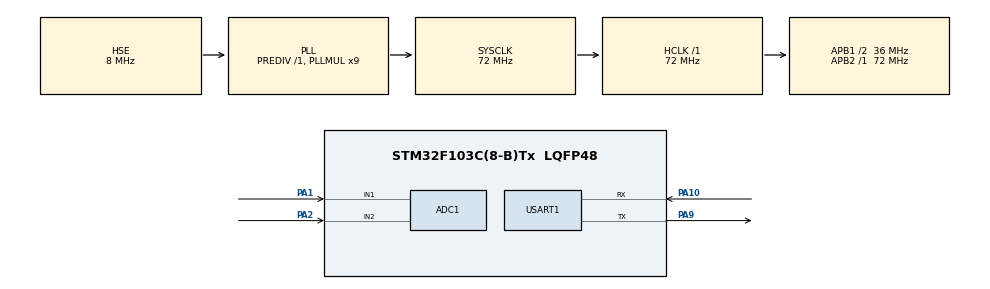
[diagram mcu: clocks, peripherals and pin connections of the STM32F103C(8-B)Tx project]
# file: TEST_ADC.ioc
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ADC1.Channel-0\#ChannelRegularConversion=ADC_CHANNEL_1
ADC1.Channel-1\#ChannelRegularConversion=ADC_CHANNEL_2
ADC1.Channel-2\#ChannelRegularConversion=ADC_CHANNEL_TEMPSENSOR
ADC1.NbrOfConversion=3
ADC1.NbrOfConversionFlag=1
ADC1.Rank-0\#ChannelRegularConversion=1
ADC1.Rank-1\#ChannelRegularConversion=2
ADC1.Rank-2\#ChannelRegularConversion=3
ADC1.SamplingTime-0\#ChannelRegularConversion=ADC_SAMPLETIME_13CYCLES_5
ADC1.SamplingTime-1\#ChannelRegularConversion=ADC_SAMPLETIME_28CYCLES_5
ADC1.SamplingTime-2\#ChannelRegularConversion=ADC_SAMPLETIME_239CYCLES_5
ADC1.master=1
Mcu.Family=STM32F1
Mcu.Name=STM32F103C(8-B)Tx
Mcu.Package=LQFP48
NVIC.PriorityGroup=NVIC_PRIORITYGROUP_4
PA1.Signal=ADCx_IN1
PA10.Mode=Asynchronous
PA10.Signal=USART1_RX
PA13.Mode=Serial_Wire
PA13.Signal=SYS_JTMS-SWDIO
PA14.Mode=Serial_Wire
PA14.Signal=SYS_JTCK-SWCLK
PA2.Signal=ADCx_IN2
PA9.Mode=Asynchronous
PA9.Signal=USART1_TX
PD0-OSC_IN.Mode=HSE-External-Oscillator
PD0-OSC_IN.Signal=RCC_OSC_IN
PD1-OSC_OUT.Mode=HSE-External-Oscillator
PD1-OSC_OUT.Signal=RCC_OSC_OUT
ProjectManager.HeapSize=0x200
ProjectManager.StackSize=0x400
ProjectManager.TargetToolchain=MDK-ARM V5.32
RCC.ADCPresc=RCC_ADCPCLK2_DIV6
RCC.AHBFreq_Value=72000000
RCC.APB1CLKDivider=RCC_HCLK_DIV2
RCC.APB1Freq_Value=36000000
RCC.APB1TimFreq_Value=72000000
RCC.APB2Freq_Value=72000000
RCC.APB2TimFreq_Value=72000000
RCC.HCLKFreq_Value=72000000
RCC.PLLMUL=RCC_PLL_MUL9
RCC.PLLSourceVirtual=RCC_PLLSOURCE_HSE
RCC.SYSCLKFreq_VALUE=72000000
RCC.SYSCLKSource=RCC_SYSCLKSOURCE_PLLCLK
RCC.USBFreq_Value=72000000
SH.ADCx_IN1.0=ADC1_IN1,IN1
SH.ADCx_IN2.0=ADC1_IN2,IN2
USART1.VirtualMode=VM_ASYNC
VP_ADC1_TempSens_Input.Mode=IN-TempSens
board=custom

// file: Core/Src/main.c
/* USER CODE BEGIN Header */
/**
  ******************************************************************************
  * @file           : main.c
  * @brief          : Main program body
  ******************************************************************************
  * @attention
  *
  * Copyright (c) 2022 STMicroelectronics.
  * All rights reserved.
  *
  * This software is licensed under terms that can be found in the LICENSE file
  * in the root directory of this software component.
  * If no LICENSE file comes with this software, it is provided AS-IS.
  *
  ******************************************************************************
  */
/* USER CODE END Header */
#include "main.h"

/* USER CODE BEGIN Includes */
#include <stdio.h>
/* USER CODE END Includes */

 ADC_HandleTypeDef hadc1;

UART_HandleTypeDef huart1;

void SystemClock_Config(void);
static void MX_GPIO_Init(void);
static void MX_ADC1_Init(void);
static void MX_USART1_UART_Init(void);

/* USER CODE BEGIN 0 */
uint32_t adc_value[3];
float v[3];
float temp;
uint8_t data[50];
/* USER CODE END 0 */

int main(void)
{

  /* MCU Configuration--------------------------------------------------------*/

  /* Reset of all peripherals, Initializes the Flash interface and the Systick. */
  HAL_Init();

  /* Configure the system clock */
  SystemClock_Config();

  /* Initialize all configured peripherals */
  MX_GPIO_Init();
  MX_ADC1_Init();
  MX_USART1_UART_Init();

  /* Infinite loop */
  while (1)
  {

    /* USER CODE BEGIN 3 */
		HAL_ADC_Start(&hadc1);
		for(int i = 0; i < 24; i++)
			__asm("NOP");
		adc_value[0] = HAL_ADC_GetValue(&hadc1);

		for(int i = 0; i < 31; i++)
			__asm("NOP");
		adc_value[1] = HAL_ADC_GetValue(&hadc1);

		for(int i = 0; i < 220; i++)
			__asm("NOP");
		adc_value[2] = HAL_ADC_GetValue(&hadc1);

		v[0] = adc_value[0]*3.3/4096;
		v[1] = adc_value[1]*3.3/4096;
		v[2] = ((1.43 - adc_value[2])/(4.3/1000)) + 25;

		sprintf(&data[0], "V0 = %4.2f, V1 = %4.2f, temp = %4.2f\r\n", v[0], v[1], temp);
		HAL_UART_Transmit(&huart1, &data[0], sizeof(data), 10);
		HAL_Delay(1000);

  }
  /* USER CODE END 3 */
}

void SystemClock_Config(void)
{
  RCC_OscInitTypeDef RCC_OscInitStruct = {0};
  RCC_ClkInitTypeDef RCC_ClkInitStruct = {0};
  RCC_PeriphCLKInitTypeDef PeriphClkInit = {0};

  /** Initializes the RCC Oscillators according to the specified parameters
  * in the RCC_OscInitTypeDef structure.
  */
  RCC_OscInitStruct.OscillatorType = RCC_OSCILLATORTYPE_HSE;
  RCC_OscInitStruct.HSEState = RCC_HSE_ON;
  RCC_OscInitStruct.HSEPredivValue = RCC_HSE_PREDIV_DIV1;
  RCC_OscInitStruct.HSIState = RCC_HSI_ON;
  RCC_OscInitStruct.PLL.PLLState = RCC_PLL_ON;
  RCC_OscInitStruct.PLL.PLLSource = RCC_PLLSOURCE_HSE;
  RCC_OscInitStruct.PLL.PLLMUL = RCC_PLL_MUL9;
  if (HAL_RCC_OscConfig(&RCC_OscInitStruct) != HAL_OK)
  {
    Error_Handler();
  }

  /** Initializes the CPU, AHB and APB buses clocks
  */
  RCC_ClkInitStruct.ClockType = RCC_CLOCKTYPE_HCLK|RCC_CLOCKTYPE_SYSCLK
                              |RCC_CLOCKTYPE_PCLK1|RCC_CLOCKTYPE_PCLK2;
  RCC_ClkInitStruct.SYSCLKSource = RCC_SYSCLKSOURCE_PLLCLK;
  RCC_ClkInitStruct.AHBCLKDivider = RCC_SYSCLK_DIV1;
  RCC_ClkInitStruct.APB1CLKDivider = RCC_HCLK_DIV2;
  RCC_ClkInitStruct.APB2CLKDivider = RCC_HCLK_DIV1;

  if (HAL_RCC_ClockConfig(&RCC_ClkInitStruct, FLASH_LATENCY_2) != HAL_OK)
  {
    Error_Handler();
  }
  PeriphClkInit.PeriphClockSelection = RCC_PERIPHCLK_ADC;
  PeriphClkInit.AdcClockSelection = RCC_ADCPCLK2_DIV6;
  if (HAL_RCCEx_PeriphCLKConfig(&PeriphClkInit) != HAL_OK)
  {
    Error_Handler();
  }
}

static void MX_ADC1_Init(void)
{

  ADC_ChannelConfTypeDef sConfig = {0};

  /** Common config
  */
  hadc1.Instance = ADC1;
  hadc1.Init.ScanConvMode = ADC_SCAN_ENABLE;
  hadc1.Init.ContinuousConvMode = DISABLE;
  hadc1.Init.DiscontinuousConvMode = DISABLE;
  hadc1.Init.ExternalTrigConv = ADC_SOFTWARE_START;
  hadc1.Init.DataAlign = ADC_DATAALIGN_RIGHT;
  hadc1.Init.NbrOfConversion = 3;
  if (HAL_ADC_Init(&hadc1) != HAL_OK)
  {
    Error_Handler();
  }

  /** Configure Regular Channel
  */
  sConfig.Channel = ADC_CHANNEL_1;
  sConfig.Rank = ADC_REGULAR_RANK_1;
  sConfig.SamplingTime = ADC_SAMPLETIME_13CYCLES_5;
  if (HAL_ADC_ConfigChannel(&hadc1, &sConfig) != HAL_OK)
  {
    Error_Handler();
  }

  /** Configure Regular Channel
  */
  sConfig.Channel = ADC_CHANNEL_2;
  sConfig.Rank = ADC_REGULAR_RANK_2;
  sConfig.SamplingTime = ADC_SAMPLETIME_28CYCLES_5;
  if (HAL_ADC_ConfigChannel(&hadc1, &sConfig) != HAL_OK)
  {
    Error_Handler();
  }

  /** Configure Regular Channel
  */
  sConfig.Channel = ADC_CHANNEL_TEMPSENSOR;
  sConfig.Rank = ADC_REGULAR_RANK_3;
  sConfig.SamplingTime = ADC_SAMPLETIME_239CYCLES_5;
  if (HAL_ADC_ConfigChannel(&hadc1, &sConfig) != HAL_OK)
  {
    Error_Handler();
  }

}

static void MX_USART1_UART_Init(void)
{

  huart1.Instance = USART1;
  huart1.Init.BaudRate = 115200;
  huart1.Init.WordLength = UART_WORDLENGTH_8B;
  huart1.Init.StopBits = UART_STOPBITS_1;
  huart1.Init.Parity = UART_PARITY_NONE;
  huart1.Init.Mode = UART_MODE_TX_RX;
  huart1.Init.HwFlowCtl = UART_HWCONTROL_NONE;
  huart1.Init.OverSampling = UART_OVERSAMPLING_16;
  if (HAL_UART_Init(&huart1) != HAL_OK)
  {
    Error_Handler();
  }

}

static void MX_GPIO_Init(void)
{

  /* GPIO Ports Clock Enable */
  __HAL_RCC_GPIOD_CLK_ENABLE();
  __HAL_RCC_GPIOA_CLK_ENABLE();

}

void Error_Handler(void)
{
  __disable_irq();
  while (1)
  {
  }
}
